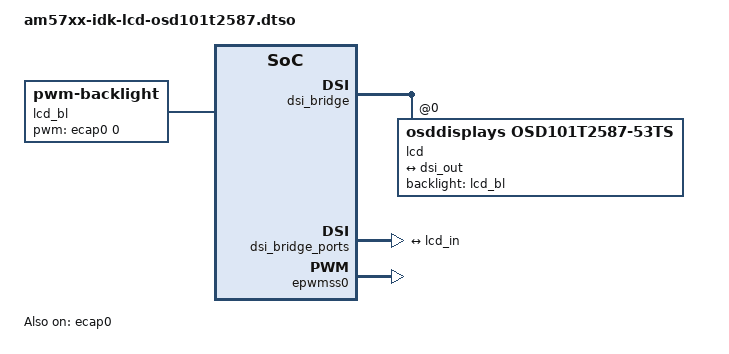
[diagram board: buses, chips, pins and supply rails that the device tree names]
// SPDX-License-Identifier: GPL-2.0
/*
 * Copyright (C) 2019-2022 Texas Instruments Incorporated - https://www.ti.com/
 */

/dts-v1/;
/plugin/;

#include <dt-bindings/gpio/gpio.h>
#include <dt-bindings/interrupt-controller/irq.h>

&{/} {
	aliases {
		display0 = "/display";
		display1 = "/connector";
	};

	lcd_bl: backlight {
		compatible = "pwm-backlight";
		pwms = <&ecap0 0 50000 1>;
		brightness-levels = <0 51 53 56 62 75 101 152 255>;
		default-brightness-level = <8>;
	};
};

&dsi_bridge {
	status = "okay";

	#address-cells = <1>;
	#size-cells = <0>;

	lcd: display {
		compatible = "osddisplays,osd101t2587-53ts";
		reg = <0>;

		label = "lcd";

		backlight = <&lcd_bl>;

		port {
			lcd_in: endpoint {
				remote-endpoint = <&dsi_out>;
			};
		};
	};
};

&dsi_bridge_ports {
	#address-cells = <1>;
	#size-cells = <0>;

	port@1 {
		reg = <1>;
		dsi_out: endpoint {
			remote-endpoint = <&lcd_in>;
		};
	};
};

&epwmss0 {
	status = "okay";
};

&ecap0 {
	status = "okay";
};
